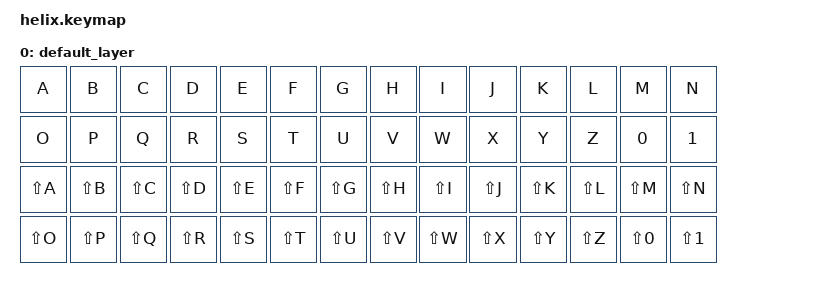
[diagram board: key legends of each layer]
/*
 * Copyright (c) 2020 The ZMK Contributors
 *
 * SPDX-License-Identifier: MIT
 */

 #include <behaviors.dtsi>
 #include <dt-bindings/zmk/keys.h>
 #include <dt-bindings/zmk/bt.h>
 #include <dt-bindings/zmk/rgb.h>
 #include <dt-bindings/zmk/ext_power.h>
 #include <dt-bindings/zmk/outputs.h>

 #define DEFAULT 0

/ {
       keymap {
              compatible = "zmk,keymap";
 
              default_layer {
                     bindings = <
&kp A  &kp B  &kp C  &kp D  &kp E  &kp F  &kp G  &kp H  &kp I  &kp J  &kp K  &kp L  &kp M  &kp N 
&kp O  &kp P  &kp Q  &kp R  &kp S  &kp T  &kp U  &kp V  &kp W  &kp X  &kp Y  &kp Z  &kp N0 &kp N1
&kp LS(A)  &kp LS(B)  &kp LS(C)  &kp LS(D)  &kp LS(E)  &kp LS(F)  &kp LS(G)  &kp LS(H)  &kp LS(I)  &kp LS(J)  &kp LS(K)  &kp LS(L)  &kp LS(M)  &kp LS(N) 
&kp LS(O)  &kp LS(P)  &kp LS(Q)  &kp LS(R)  &kp LS(S)  &kp LS(T)  &kp LS(U)  &kp LS(V)  &kp LS(W)  &kp LS(X)  &kp LS(Y)  &kp LS(Z)  &kp LS(N0) &kp LS(N1)
                     >;
              };
       };
};
